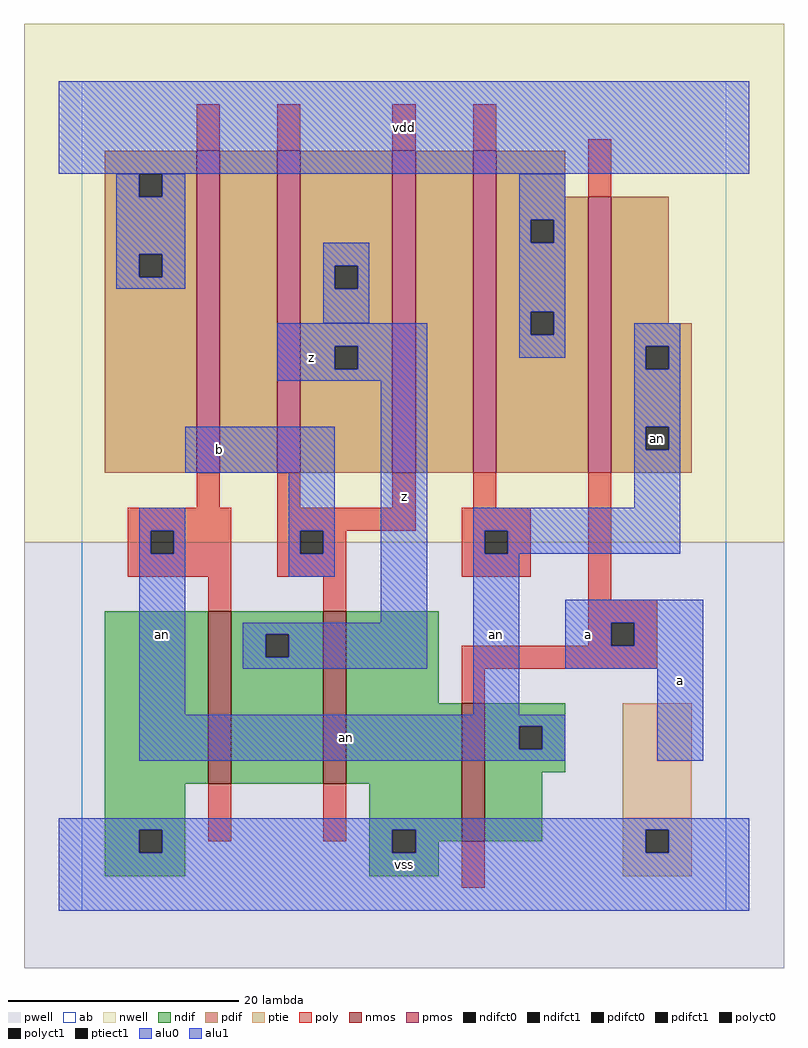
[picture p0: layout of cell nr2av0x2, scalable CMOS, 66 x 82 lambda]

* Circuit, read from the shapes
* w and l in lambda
.subckt nr2av0x2 a an b vdd vss z
M1 z an vss vss nfet w=15 l=2
M2 vss b z vss nfet w=15 l=2
M3 an a vss vss nfet w=12 l=2
M4 n1 an vdd n2 pfet w=28 l=2
M5 z b n1 n2 pfet w=28 l=2
M6 n3 b z n2 pfet w=28 l=2
M7 vdd an n3 n2 pfet w=28 l=2
M8 an a vdd n2 pfet w=24 l=2
.ends

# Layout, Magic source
magic
tech scmos
<< ab >>
rect 0 0 56 72
<< nwell >>
rect -5 32 61 77
<< pwell >>
rect -5 -5 61 32
<< poly >>
rect 10 66 12 70
rect 17 66 19 70
rect 27 66 29 70
rect 34 66 36 70
rect 44 62 46 67
rect 10 35 12 38
rect 17 35 19 38
rect 27 35 29 38
rect 34 35 36 38
rect 4 33 13 35
rect 4 31 6 33
rect 8 31 13 33
rect 4 29 13 31
rect 17 33 29 35
rect 33 33 39 35
rect 17 31 19 33
rect 21 31 23 33
rect 17 29 23 31
rect 33 31 35 33
rect 37 31 39 33
rect 33 29 39 31
rect 11 26 13 29
rect 21 26 23 29
rect 44 27 46 38
rect 44 25 50 27
rect 44 23 46 25
rect 48 23 50 25
rect 33 21 50 23
rect 33 18 35 21
rect 11 6 13 11
rect 21 6 23 11
rect 33 2 35 6
<< ndif >>
rect 2 11 11 26
rect 13 24 21 26
rect 13 22 16 24
rect 18 22 21 24
rect 13 11 21 22
rect 23 18 31 26
rect 23 11 33 18
rect 2 7 9 11
rect 2 5 5 7
rect 7 5 9 7
rect 25 7 33 11
rect 2 3 9 5
rect 25 5 27 7
rect 29 6 33 7
rect 35 16 42 18
rect 35 14 38 16
rect 40 14 42 16
rect 35 12 42 14
rect 35 6 40 12
rect 29 5 31 6
rect 25 3 31 5
<< pdif >>
rect 2 64 10 66
rect 2 62 5 64
rect 7 62 10 64
rect 2 57 10 62
rect 2 55 5 57
rect 7 55 10 57
rect 2 38 10 55
rect 12 38 17 66
rect 19 56 27 66
rect 19 54 22 56
rect 24 54 27 56
rect 19 49 27 54
rect 19 47 22 49
rect 24 47 27 49
rect 19 38 27 47
rect 29 38 34 66
rect 36 62 42 66
rect 36 60 44 62
rect 36 58 39 60
rect 41 58 44 60
rect 36 52 44 58
rect 36 50 39 52
rect 41 50 44 52
rect 36 38 44 50
rect 46 51 51 62
rect 46 49 53 51
rect 46 47 49 49
rect 51 47 53 49
rect 46 42 53 47
rect 46 40 49 42
rect 51 40 53 42
rect 46 38 53 40
<< alu1 >>
rect -2 64 58 72
rect 17 49 30 51
rect 17 47 22 49
rect 24 47 30 49
rect 17 46 30 47
rect 9 38 22 42
rect 18 33 22 38
rect 18 31 19 33
rect 21 31 22 33
rect 18 29 22 31
rect 26 25 30 46
rect 14 24 30 25
rect 14 22 16 24
rect 18 22 30 24
rect 14 21 30 22
rect 42 25 54 27
rect 42 23 46 25
rect 48 23 54 25
rect 42 21 54 23
rect 50 13 54 21
rect -2 7 58 8
rect -2 5 5 7
rect 7 5 27 7
rect 29 5 49 7
rect 51 5 58 7
rect -2 0 58 5
<< ptie >>
rect 47 7 53 18
rect 47 5 49 7
rect 51 5 53 7
rect 47 3 53 5
<< nmos >>
rect 11 11 13 26
rect 21 11 23 26
rect 33 6 35 18
<< pmos >>
rect 10 38 12 66
rect 17 38 19 66
rect 27 38 29 66
rect 34 38 36 66
rect 44 38 46 62
<< polyct0 >>
rect 6 31 8 33
rect 35 31 37 33
<< polyct1 >>
rect 19 31 21 33
rect 46 23 48 25
<< ndifct0 >>
rect 38 14 40 16
<< ndifct1 >>
rect 16 22 18 24
rect 5 5 7 7
rect 27 5 29 7
<< ptiect1 >>
rect 49 5 51 7
<< pdifct0 >>
rect 5 62 7 64
rect 5 55 7 57
rect 22 54 24 56
rect 39 58 41 60
rect 39 50 41 52
rect 49 47 51 49
rect 49 40 51 42
<< pdifct1 >>
rect 22 47 24 49
<< alu0 >>
rect 3 62 5 64
rect 7 62 9 64
rect 3 57 9 62
rect 38 60 42 64
rect 38 58 39 60
rect 41 58 42 60
rect 3 55 5 57
rect 7 55 9 57
rect 3 54 9 55
rect 21 56 25 58
rect 21 54 22 56
rect 24 54 25 56
rect 21 51 25 54
rect 38 52 42 58
rect 38 50 39 52
rect 41 50 42 52
rect 38 48 42 50
rect 48 49 52 51
rect 5 33 9 35
rect 5 31 6 33
rect 8 31 9 33
rect 5 17 9 31
rect 48 47 49 49
rect 51 47 52 49
rect 48 42 52 47
rect 48 40 49 42
rect 51 40 52 42
rect 48 35 52 40
rect 34 33 52 35
rect 34 31 35 33
rect 37 31 52 33
rect 34 17 38 31
rect 5 16 42 17
rect 5 14 38 16
rect 40 14 42 16
rect 5 13 42 14
<< labels >>
rlabel alu0 7 24 7 24 6 an
rlabel alu0 23 15 23 15 6 an
rlabel alu0 36 24 36 24 6 an
rlabel pdifct0 50 41 50 41 6 an
rlabel alu1 12 40 12 40 6 b
rlabel alu1 20 48 20 48 6 z
rlabel alu1 28 4 28 4 6 vss
rlabel alu1 28 36 28 36 6 z
rlabel alu1 28 68 28 68 6 vdd
rlabel alu1 52 20 52 20 6 a
rlabel alu1 44 24 44 24 6 a
<< end >>
